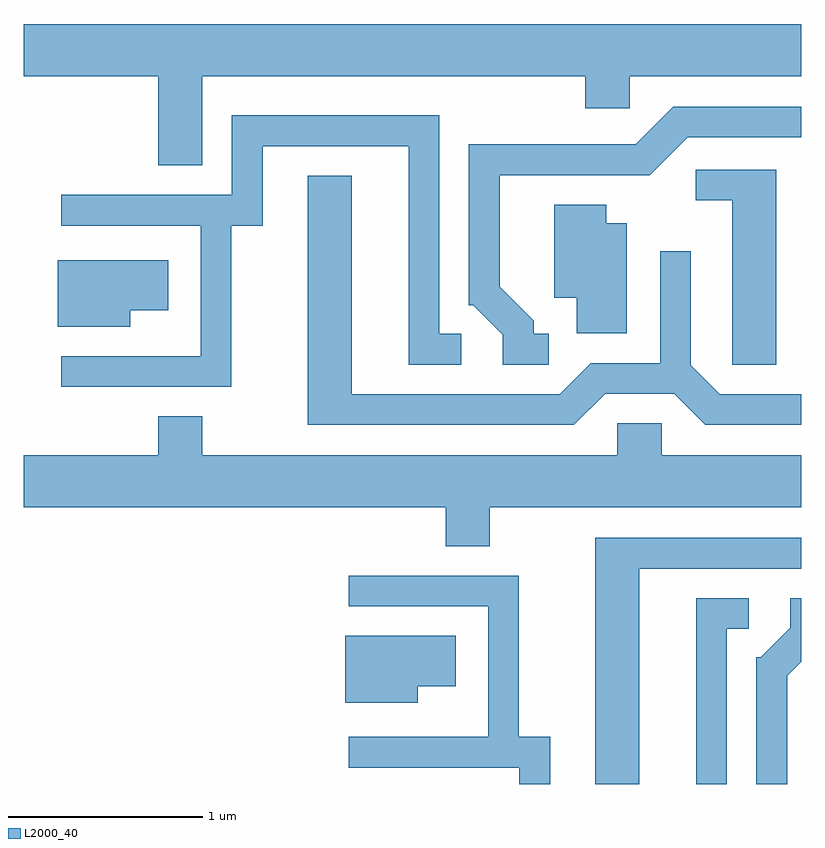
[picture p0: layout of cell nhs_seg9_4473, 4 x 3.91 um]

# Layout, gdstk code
import gdstk
lib = gdstk.Library(unit=1e-6, precision=1e-09)
def P(c, l, *ps):  # polygons
    for p in ps: c.add(gdstk.Polygon(p, *l))
L2000_40 = (2000, 40)

nhs_seg9_4473 = lib.new_cell('nhs_seg9_4473')
P(nhs_seg9_4473, L2000_40, [(318.529,1954.076),(320.501,1954.076),(320.501,1953.911),(320.729,1953.911),(320.729,1954.076),(321.611,1954.076),(321.611,1954.344),(317.611,1954.344),(317.611,1954.076),(318.301,1954.076),(318.301,1953.616),(318.529,1953.616)],
  [(320.313,1952.749),(320.234,1952.749),(320.234,1952.817),(320.059,1952.992),(320.059,1953.566),(320.832,1953.566),(321.027,1953.761),(321.611,1953.761),(321.611,1953.919),(320.954,1953.919),(320.759,1953.724),(319.901,1953.724),(319.901,1952.896),(319.924,1952.896),(320.076,1952.744),(320.076,1952.591),(320.313,1952.591)],
  [(318.679,1953.306),(318.839,1953.306),(318.839,1953.716),(319.591,1953.716),(319.591,1952.591),(319.863,1952.591),(319.863,1952.749),(319.749,1952.749),(319.749,1953.874),(318.681,1953.874),(318.681,1953.464),(317.803,1953.464),(317.803,1953.306),(318.521,1953.306),(318.521,1952.634),(317.803,1952.634),(317.803,1952.476),(318.679,1952.476)],
  [(321.484,1953.594),(321.068,1953.594),(321.068,1953.436),(321.256,1953.436),(321.256,1952.591),(321.484,1952.591)],
  [(320.602,1952.441),(320.959,1952.441),(321.119,1952.281),(321.611,1952.281),(321.611,1952.439),(321.192,1952.439),(321.044,1952.587),(321.044,1953.173),(320.886,1953.173),(320.886,1952.599),(320.529,1952.599),(320.369,1952.439),(319.299,1952.439),(319.299,1953.564),(319.071,1953.564),(319.071,1952.281),(320.442,1952.281)],
  [(320.714,1953.319),(320.609,1953.319),(320.609,1953.414),(320.341,1953.414),(320.341,1952.936),(320.456,1952.936),(320.456,1952.751),(320.714,1952.751)],
  [(318.159,1952.871),(318.354,1952.871),(318.354,1953.129),(317.786,1953.129),(317.786,1952.786),(318.159,1952.786)],
  [(320.009,1951.856),(321.611,1951.856),(321.611,1952.124),(320.894,1952.124),(320.894,1952.289),(320.666,1952.289),(320.666,1952.124),(318.529,1952.124),(318.529,1952.324),(318.301,1952.324),(318.301,1952.124),(317.611,1952.124),(317.611,1951.856),(319.781,1951.856),(319.781,1951.656),(320.009,1951.656)],
  [(320.779,1951.541),(321.611,1951.541),(321.611,1951.699),(320.551,1951.699),(320.551,1950.432),(320.779,1950.432)],
  [(320.319,1950.674),(320.159,1950.674),(320.159,1951.504),(319.283,1951.504),(319.283,1951.346),(320.001,1951.346),(320.001,1950.674),(319.283,1950.674),(319.283,1950.516),(320.161,1950.516),(320.161,1950.432),(320.319,1950.432)],
  [(321.229,1951.231),(321.343,1951.231),(321.343,1951.389),(321.071,1951.389),(321.071,1950.432),(321.229,1950.432)],
  [(321.539,1950.989),(321.611,1951.061),(321.611,1951.389),(321.556,1951.389),(321.556,1951.237),(321.404,1951.084),(321.381,1951.084),(321.381,1950.432),(321.539,1950.432)],
  [(319.639,1950.936),(319.834,1950.936),(319.834,1951.194),(319.266,1951.194),(319.266,1950.851),(319.639,1950.851)])

lib.write_gds('nhs_seg9_4473.gds')
